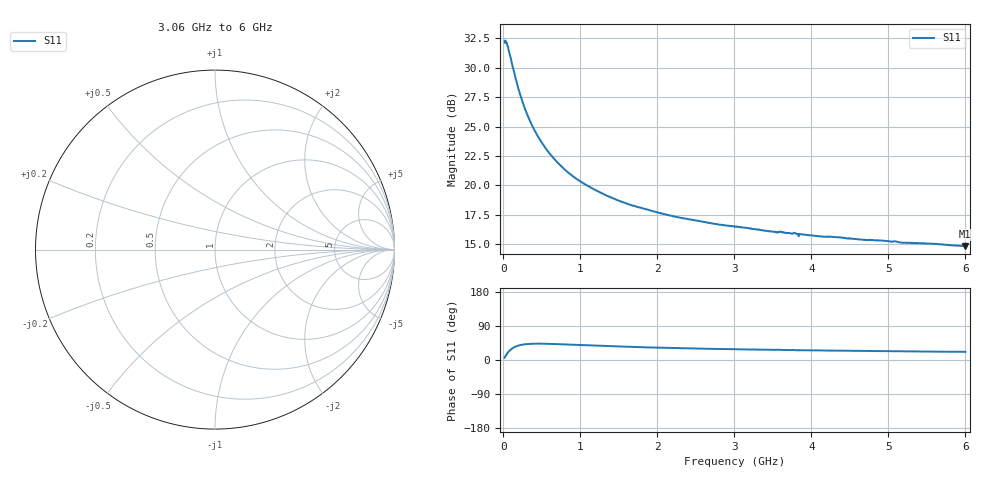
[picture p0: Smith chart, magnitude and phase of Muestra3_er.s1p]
! NanoVNA-UTN-Toolkit permittivity export -- NOT S-parameters
! ES: Permitividad relativa compleja de la muestra. NO es S11: se guarda en
! ES: formato Touchstone solo para poder graficarla con visores de .s1p.
! EN: Complex relative permittivity of the sample. NOT S11: the Touchstone
! EN: format is used only so that .s1p viewers can plot it.
! Columns / Columnas: f (Hz) | eps' | eps'' (loss >= 0); eps_r = eps' - j*eps''
! Sample / Muestra: Muestra3
! Technique / Tecnica: Open-ended coaxial probe (liquids)
! References / Referencias: water + ipa
! Probe / Sonda: 3 mm probe (C0 0.019 pF)
! Temperature / Temperatura: 23.0 °C
! Reliable from 45 MHz: points below are not reliable / Confiable desde 45 MHz: los puntos inferiores no son confiables
! Spike removal replaced 1 isolated S11 point(s) before solving / La remocion de picos reemplazo 1 punto(s) aislado(s) de S11
! 2 point(s) without a solution omitted / 2 punto(s) sin solucion omitidos
! Exported / Exportado: 2026-10-23T19:04:01
# Hz S RI R 50
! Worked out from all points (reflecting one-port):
!   1198 points, 15 MHz to 6 GHz, reference 50 ohm
!   lowest |S11| = 14.8 dB at 5.995 GHz (marker M1)
!   phase of S11 starts at 6 deg and turns +16 deg over the sweep
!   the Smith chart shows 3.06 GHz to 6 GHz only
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1.5e7  40.62 4.196
2.5e7  40.65 7.07
3.5e7  39.64 8.991
5e7  37.61 11.4
6.5e7  35.04 13.98
8e7  32.88 15.19
1.05e8  29.22 16.32
1.2e8  27.27 16.53
1.4e8  25.04 16.9
1.75e8  21.69 16.28
1.95e8  20.18 15.86
2.2e8  18.67 15.38
2.7e8  16.21 14.25
3.05e8  14.96 13.51
3.5e8  13.71 12.62
4e8  12.61 11.74
4.6e8  11.63 10.89
5.85e8  10.21 9.366
7.65e8  8.967 7.896
1.06e9  7.866 6.377
1.515e9  6.968 5.008
2.26e9  6.25 3.839
3.01e9  5.876 3.175
3.76e9  5.595 2.786
4.505e9  5.431 2.446
5.255e9  5.256 2.216
5.995e9  5.134 2.038
6e9  5.154 2.042
